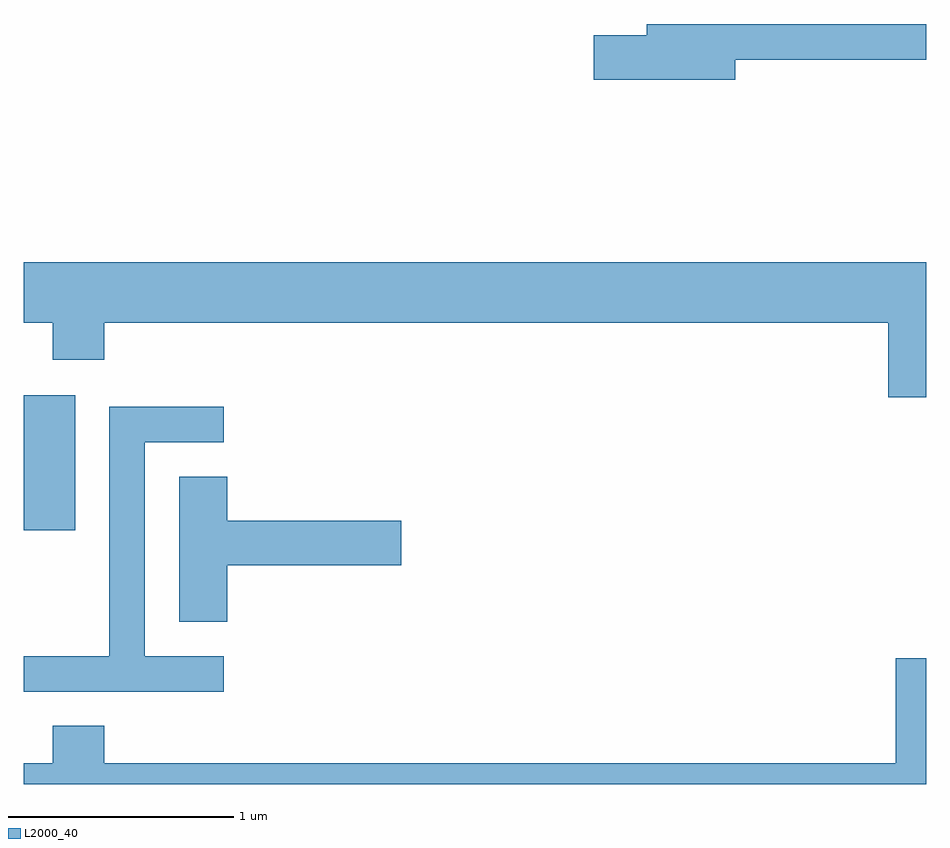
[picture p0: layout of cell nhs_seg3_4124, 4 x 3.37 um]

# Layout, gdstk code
import gdstk
lib = gdstk.Library(unit=1e-6, precision=1e-09)
def R(c, l, rs):  # rectangles x0, y0, x1, y1
    for r in rs: c.add(gdstk.rectangle(r[:2], r[2:], *l))
def P(c, l, *ps):  # polygons
    for p in ps: c.add(gdstk.Polygon(p, *l))
L2000_40 = (2000, 40)

nhs_seg3_4124 = lib.new_cell('nhs_seg3_4124')
R(nhs_seg3_4124, L2000_40, [(305.611,1205.016,305.839,1205.614)])
P(nhs_seg3_4124, L2000_40, [(308.764,1207.101),(309.611,1207.101),(309.611,1207.259),(308.371,1207.259),(308.371,1207.209),(308.136,1207.209),(308.136,1207.011),(308.764,1207.011)],
  [(309.611,1206.204),(305.611,1206.204),(305.611,1205.936),(305.741,1205.936),(305.741,1205.771),(305.969,1205.771),(305.969,1205.936),(309.441,1205.936),(309.441,1205.606),(309.611,1205.606)],
  [(306.498,1204.459),(306.149,1204.459),(306.149,1205.406),(306.498,1205.406),(306.498,1205.564),(305.991,1205.564),(305.991,1204.459),(305.611,1204.459),(305.611,1204.301),(306.498,1204.301)],
  [(306.514,1204.861),(307.284,1204.861),(307.284,1205.059),(306.514,1205.059),(306.514,1205.254),(306.301,1205.254),(306.301,1204.611),(306.514,1204.611)],
  [(309.611,1204.448),(309.476,1204.448),(309.476,1203.984),(305.969,1203.984),(305.969,1204.149),(305.741,1204.149),(305.741,1203.984),(305.611,1203.984),(305.611,1203.892),(309.611,1203.892)])

lib.write_gds('nhs_seg3_4124.gds')
